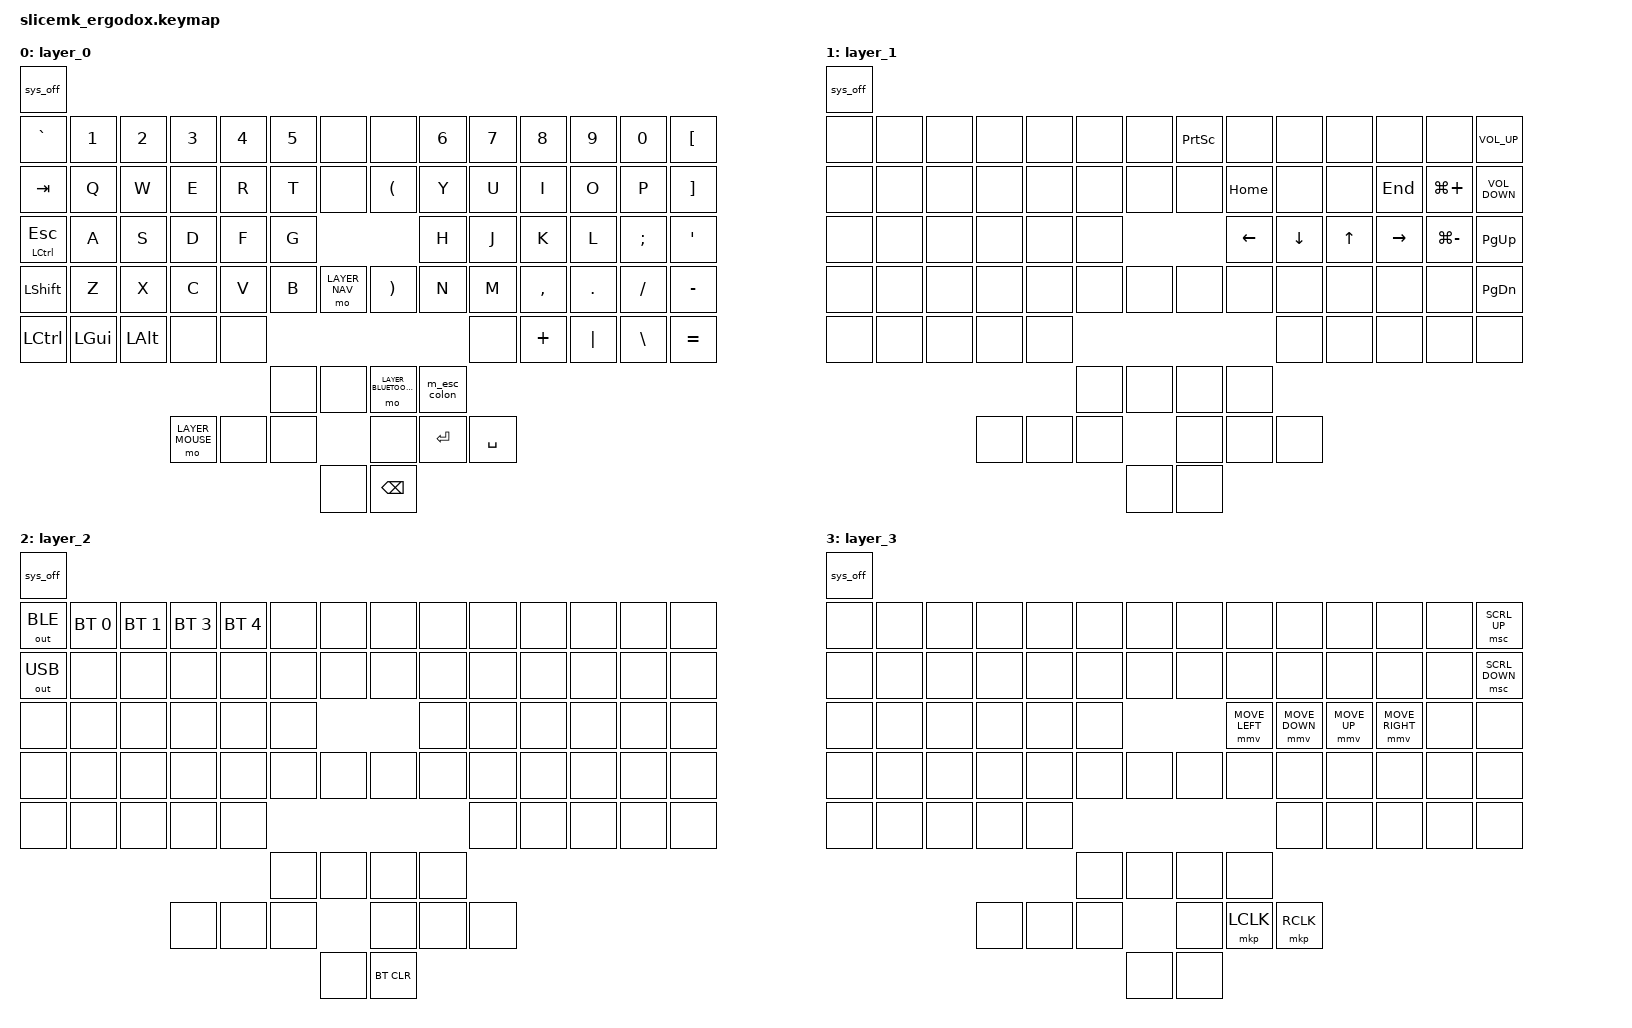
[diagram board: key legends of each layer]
#define LAYER_MAIN 0
#define LAYER_NAV 1
#define LAYER_BLUETOOTH 2
#define LAYER_MOUSE 3

#include <behaviors.dtsi>
#include <dt-bindings/zmk/bt.h>
#include <dt-bindings/zmk/keys.h>
#include <dt-bindings/zmk/outputs.h>
#include <dt-bindings/zmk/pointing.h>
#include <dt-bindings/zmk/rgb.h>

/ {
    macros {
        m_esc_colon: m_esc_colon {
            compatible = "zmk,behavior-macro";
            #binding-cells = <0>;
            bindings
                = <&macro_tap &kp ESC &kp COLON> ;
        };
    };
    keymap {
        compatible = "zmk,keymap";
        layer_0 {
            bindings = <
                &sys_off
                &kp GRAVE               &kp NUMBER_1 &kp NUMBER_2 &kp NUMBER_3 &kp NUMBER_4    &kp NUMBER_5 &none         &none                 &kp NUMBER_6 &kp NUMBER_7 &kp NUMBER_8 &kp NUMBER_9 &kp NUMBER_0  &kp LEFT_BRACKET
                &kp TAB                 &kp Q        &kp W        &kp E        &kp R           &kp T        &none         &kp LEFT_PARENTHESIS  &kp Y        &kp U        &kp I        &kp O        &kp P         &kp RIGHT_BRACKET
                &mt LEFT_CONTROL ESCAPE &kp A        &kp S        &kp D        &kp F           &kp G                                            &kp H        &kp J        &kp K        &kp L        &kp SEMICOLON &kp SINGLE_QUOTE
                &kp LEFT_SHIFT          &kp Z        &kp X        &kp C        &kp V           &kp B        &mo LAYER_NAV &kp RIGHT_PARENTHESIS &kp N        &kp M        &kp COMMA    &kp PERIOD   &kp SLASH     &kp MINUS
                &kp LEFT_CONTROL        &kp LEFT_GUI &kp LEFT_ALT &none        &none                                                                         &none        &kp PLUS     &kp PIPE     &kp BACKSLASH &kp EQUAL
                                                                                                   &none        &none         &mo LAYER_BLUETOOTH   &m_esc_colon
                                                                       &mo LAYER_MOUSE &none        &none         &none                 &kp RETURN   &kp SPACE
                                                                                                            &none         &kp BACKSPACE
            >;
        };

        layer_1 {
            bindings = <
                &sys_off
                &none &none &none &none &none &none &none &kp PRINTSCREEN &none          &none          &none        &none           &none &kp C_VOLUME_UP
                &none &none &none &none &none &none &none &none &kp HOME       &none          &none        &kp END         &kp LG(PLUS) &kp C_VOLUME_DOWN
                &none &none &none &none &none &none             &kp LEFT_ARROW &kp DOWN_ARROW &kp UP_ARROW &kp RIGHT_ARROW &kp LG(MINUS) &kp PG_UP
                &none &none &none &none &none &none &none &none &none          &none          &none        &none           &none &kp PG_DN
                &none &none &none &none &none                                  &none          &none        &none           &none &none
                                               &none &none &none &none
                                     &none &none &none &none &none          &none
                                                 &none &none
            >;
        };

        layer_2 {
            bindings = <
                &sys_off
                &out OUT_BLE &bt BT_SEL 0 &bt BT_SEL 1 &bt BT_SEL 3 &bt BT_SEL 4 &none &none &none      &none &none &none &none &none &none
                &out OUT_USB &none        &none        &none        &none        &none &none &none      &none &none &none &none &none &none
                &none        &none        &none        &none        &none        &none                  &none &none &none &none &none &none
                &none        &none        &none        &none        &none        &none &none &none      &none &none &none &none &none &none
                &none        &none        &none        &none        &none                                     &none &none &none &none &none
                                                                                  &none &none &none      &none
                                                                     &none        &none &none &none      &none &none
                                                                                        &none &bt BT_CLR
            >;
        };

        layer_3 {
            bindings = <
                &sys_off
                &none &none &none &none &none &none &none &none &none          &none          &none        &none           &none &msc SCRL_UP
                &none &none &none &none &none &none &none &none &none          &none          &none        &none           &none &msc SCRL_DOWN
                &none &none &none &none &none &none             &mmv MOVE_LEFT &mmv MOVE_DOWN &mmv MOVE_UP &mmv MOVE_RIGHT &none &none
                &none &none &none &none &none &none &none &none &none          &none          &none        &none           &none &none
                &none &none &none &none &none                                  &none          &none        &none           &none &none
                                               &none &none &none &none
                                     &none &none &none &none &mkp LCLK      &mkp RCLK
                                                 &none &none
            >;
        };
    };
};

